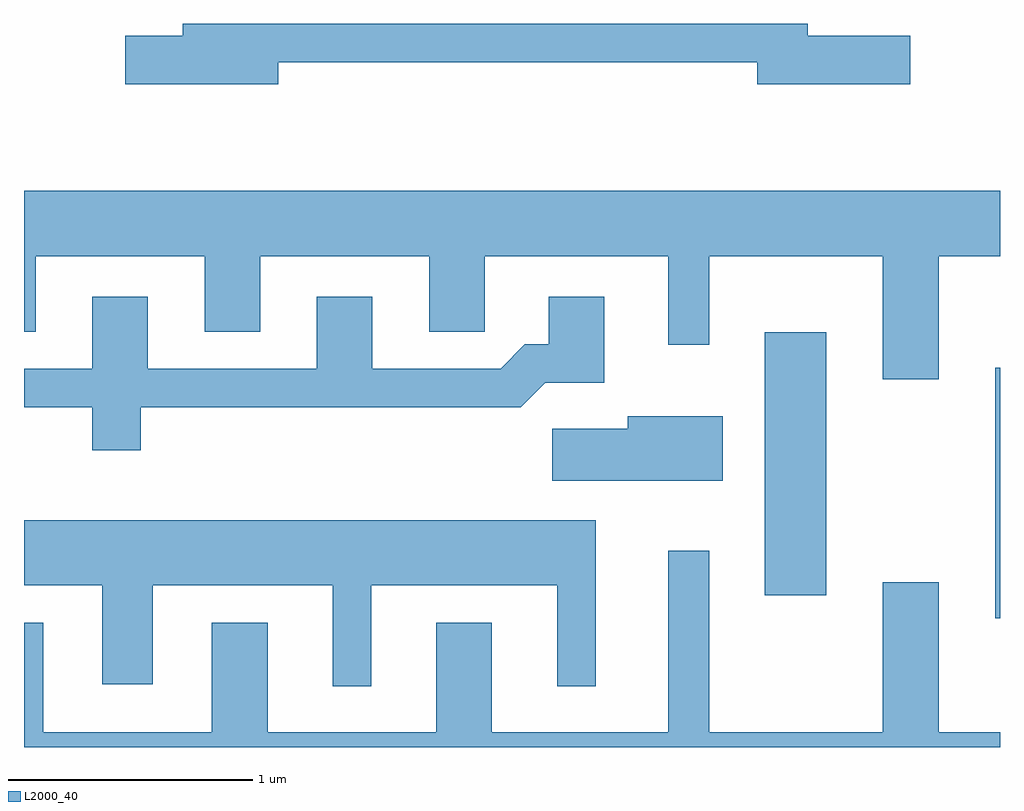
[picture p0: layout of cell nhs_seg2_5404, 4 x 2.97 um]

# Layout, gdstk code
import gdstk
lib = gdstk.Library(unit=1e-6, precision=1e-09)
def R(c, l, rs):  # rectangles x0, y0, x1, y1
    for r in rs: c.add(gdstk.rectangle(r[:2], r[2:], *l))
def P(c, l, *ps):  # polygons
    for p in ps: c.add(gdstk.Polygon(p, *l))
L2000_40 = (2000, 40)

nhs_seg2_5404 = lib.new_cell('nhs_seg2_5404')
R(nhs_seg2_5404, L2000_40, [(347.591,1102.331,347.611,1103.359), (346.646,1102.426,346.899,1103.504)])
P(nhs_seg2_5404, L2000_40, [(344.654,1104.611),(346.616,1104.611),(346.616,1104.521),(347.244,1104.521),(347.244,1104.719),(346.824,1104.719),(346.824,1104.769),(344.261,1104.769),(344.261,1104.719),(344.026,1104.719),(344.026,1104.521),(344.654,1104.521)],
  [(347.359,1103.816),(347.611,1103.816),(347.611,1104.084),(343.611,1104.084),(343.611,1103.506),(343.659,1103.506),(343.659,1103.816),(344.351,1103.816),(344.351,1103.506),(344.579,1103.506),(344.579,1103.816),(345.271,1103.816),(345.271,1103.506),(345.499,1103.506),(345.499,1103.816),(346.251,1103.816),(346.251,1103.453),(346.419,1103.453),(346.419,1103.816),(347.131,1103.816),(347.131,1103.311),(347.359,1103.311)],
  [(344.089,1103.196),(345.647,1103.196),(345.747,1103.296),(345.989,1103.296),(345.989,1103.649),(345.761,1103.649),(345.761,1103.454),(345.664,1103.454),(345.564,1103.354),(345.039,1103.354),(345.039,1103.649),(344.811,1103.649),(344.811,1103.354),(344.119,1103.354),(344.119,1103.649),(343.891,1103.649),(343.891,1103.354),(343.611,1103.354),(343.611,1103.196),(343.891,1103.196),(343.891,1103.021),(344.089,1103.021)],
  [(346.474,1103.159),(346.086,1103.159),(346.086,1103.109),(345.776,1103.109),(345.776,1102.896),(346.474,1102.896)],
  [(345.034,1102.466),(345.796,1102.466),(345.796,1102.053),(345.954,1102.053),(345.954,1102.734),(343.611,1102.734),(343.611,1102.466),(343.931,1102.466),(343.931,1102.061),(344.139,1102.061),(344.139,1102.466),(344.876,1102.466),(344.876,1102.053),(345.034,1102.053)],
  [(347.611,1101.864),(347.359,1101.864),(347.359,1102.479),(347.131,1102.479),(347.131,1101.864),(346.419,1101.864),(346.419,1102.608),(346.251,1102.608),(346.251,1101.864),(345.529,1101.864),(345.529,1102.314),(345.301,1102.314),(345.301,1101.864),(344.609,1101.864),(344.609,1102.314),(344.381,1102.314),(344.381,1101.864),(343.689,1101.864),(343.689,1102.314),(343.611,1102.314),(343.611,1101.802),(347.611,1101.802)])

lib.write_gds('nhs_seg2_5404.gds')
